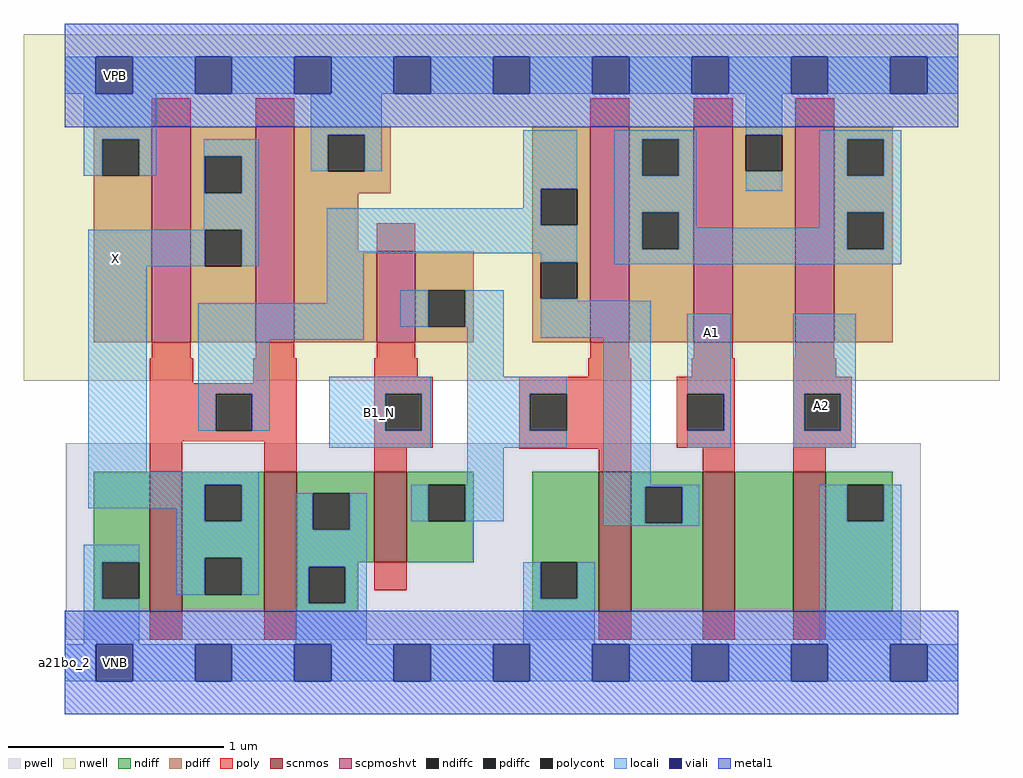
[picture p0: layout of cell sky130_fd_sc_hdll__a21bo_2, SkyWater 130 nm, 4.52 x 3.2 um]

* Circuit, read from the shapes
.subckt sky130_fd_sc_hdll__a21bo_2 A1 A2 B1_N VGND VNB VPB VPWR X
XM1 X n1 VGND VNB sky130_fd_pr__nfet_01v8 w=0.65 l=0.15 m=2
XM2 n2 B1_N VGND VNB sky130_fd_pr__nfet_01v8 w=0.42 l=0.15
XM3 n1 n2 VGND VNB sky130_fd_pr__nfet_01v8 w=0.65 l=0.15
XM4 n3 A1 n1 VNB sky130_fd_pr__nfet_01v8 w=0.65 l=0.15
XM5 VGND A2 n3 VNB sky130_fd_pr__nfet_01v8 w=0.65 l=0.15
XM6 X n1 VPWR VPB sky130_fd_pr__pfet_01v8_hvt w=1 l=0.18 m=2
XM7 n2 B1_N VPWR VPB sky130_fd_pr__pfet_01v8_hvt w=0.42 l=0.18
XM8 n4 n2 n1 VPB sky130_fd_pr__pfet_01v8_hvt w=1 l=0.18
XM9 VPWR A1 n4 VPB sky130_fd_pr__pfet_01v8_hvt w=1 l=0.18
XM10 n4 A2 VPWR VPB sky130_fd_pr__pfet_01v8_hvt w=1 l=0.18
.ends

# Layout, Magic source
magic
tech sky130A
magscale 1 2
<< nwell >>
rect -38 261 866 582
<< pwell >>
rect 1 21 793 203
rect 30 -17 64 21
<< scnmos >>
rect 79 47 109 177
rect 185 47 215 177
rect 287 93 317 177
rect 495 47 525 177
rect 591 47 621 177
rect 675 47 705 177
<< scpmoshvt >>
rect 81 297 117 497
rect 177 297 213 497
rect 289 297 325 381
rect 487 297 523 497
rect 583 297 619 497
rect 677 297 713 497
<< ndiff >>
rect 27 93 79 177
rect 27 59 35 93
rect 69 59 79 93
rect 27 47 79 59
rect 109 165 185 177
rect 109 131 130 165
rect 164 131 185 165
rect 109 97 185 131
rect 109 63 130 97
rect 164 63 185 97
rect 109 47 185 63
rect 215 157 287 177
rect 215 123 230 157
rect 264 123 287 157
rect 215 93 287 123
rect 317 165 379 177
rect 317 131 337 165
rect 371 131 379 165
rect 317 93 379 131
rect 433 93 495 177
rect 215 89 272 93
rect 215 55 226 89
rect 260 55 272 89
rect 215 47 272 55
rect 433 59 441 93
rect 475 59 495 93
rect 433 47 495 59
rect 525 163 591 177
rect 525 129 538 163
rect 572 129 591 163
rect 525 47 591 129
rect 621 47 675 177
rect 705 165 767 177
rect 705 131 725 165
rect 759 131 767 165
rect 705 47 767 131
<< pdiff >>
rect 27 485 81 497
rect 27 451 35 485
rect 69 451 81 485
rect 27 297 81 451
rect 117 469 177 497
rect 117 435 130 469
rect 164 435 177 469
rect 117 401 177 435
rect 117 367 130 401
rect 164 367 177 401
rect 117 297 177 367
rect 213 489 302 497
rect 213 455 244 489
rect 278 455 302 489
rect 213 435 302 455
rect 433 439 487 497
rect 213 381 272 435
rect 433 405 441 439
rect 475 405 487 439
rect 213 297 289 381
rect 325 345 379 381
rect 325 311 337 345
rect 371 311 379 345
rect 325 297 379 311
rect 433 371 487 405
rect 433 337 441 371
rect 475 337 487 371
rect 433 297 487 337
rect 523 485 583 497
rect 523 451 535 485
rect 569 451 583 485
rect 523 417 583 451
rect 523 383 535 417
rect 569 383 583 417
rect 523 297 583 383
rect 619 489 677 497
rect 619 455 631 489
rect 665 455 677 489
rect 619 297 677 455
rect 713 485 767 497
rect 713 451 725 485
rect 759 451 767 485
rect 713 417 767 451
rect 713 383 725 417
rect 759 383 767 417
rect 713 297 767 383
<< ndiffc >>
rect 35 59 69 93
rect 130 131 164 165
rect 130 63 164 97
rect 230 123 264 157
rect 337 131 371 165
rect 226 55 260 89
rect 441 59 475 93
rect 538 129 572 163
rect 725 131 759 165
<< pdiffc >>
rect 35 451 69 485
rect 130 435 164 469
rect 130 367 164 401
rect 244 455 278 489
rect 441 405 475 439
rect 337 311 371 345
rect 441 337 475 371
rect 535 451 569 485
rect 535 383 569 417
rect 631 455 665 489
rect 725 451 759 485
rect 725 383 759 417
<< poly >>
rect 81 497 117 523
rect 177 497 213 523
rect 487 497 523 523
rect 583 497 619 523
rect 677 497 713 523
rect 289 381 325 407
rect 81 282 117 297
rect 177 282 213 297
rect 289 282 325 297
rect 487 282 523 297
rect 583 282 619 297
rect 677 282 713 297
rect 79 259 119 282
rect 175 259 215 282
rect 79 249 215 259
rect 79 215 140 249
rect 174 215 215 249
rect 79 205 215 215
rect 79 177 109 205
rect 185 177 215 205
rect 287 265 327 282
rect 485 265 525 282
rect 581 265 621 282
rect 287 249 341 265
rect 287 215 297 249
rect 331 215 341 249
rect 287 199 341 215
rect 421 249 525 265
rect 421 215 431 249
rect 465 215 525 249
rect 287 177 317 199
rect 421 198 525 215
rect 567 249 621 265
rect 567 215 577 249
rect 611 215 621 249
rect 567 199 621 215
rect 495 177 525 198
rect 591 177 621 199
rect 675 265 715 282
rect 675 249 729 265
rect 675 215 685 249
rect 719 215 729 249
rect 675 199 729 215
rect 675 177 705 199
rect 287 67 317 93
rect 79 21 109 47
rect 185 21 215 47
rect 495 21 525 47
rect 591 21 621 47
rect 675 21 705 47
<< polycont >>
rect 140 215 174 249
rect 297 215 331 249
rect 431 215 465 249
rect 577 215 611 249
rect 685 215 719 249
<< locali >>
rect 0 527 29 561
rect 63 527 121 561
rect 155 527 213 561
rect 247 527 305 561
rect 339 527 397 561
rect 431 527 489 561
rect 523 527 581 561
rect 615 527 673 561
rect 707 527 765 561
rect 799 527 828 561
rect 18 485 85 527
rect 228 489 294 527
rect 18 451 35 485
rect 69 451 85 485
rect 129 469 180 485
rect 129 435 130 469
rect 164 435 180 469
rect 228 455 244 489
rect 278 455 294 489
rect 129 401 180 435
rect 425 439 475 493
rect 425 421 441 439
rect 22 367 130 401
rect 164 367 180 401
rect 243 405 441 421
rect 243 379 475 405
rect 22 177 76 367
rect 243 333 277 379
rect 441 371 475 379
rect 124 299 277 333
rect 311 311 337 345
rect 371 311 407 345
rect 124 249 190 299
rect 373 265 407 311
rect 509 485 585 493
rect 509 451 535 485
rect 569 451 585 485
rect 509 417 585 451
rect 631 489 665 527
rect 631 437 665 455
rect 699 485 775 493
rect 699 451 725 485
rect 759 451 775 485
rect 509 383 535 417
rect 569 403 585 417
rect 699 417 775 451
rect 699 403 725 417
rect 569 383 725 403
rect 759 383 775 417
rect 509 369 775 383
rect 441 335 475 337
rect 441 301 543 335
rect 124 215 140 249
rect 174 215 190 249
rect 245 249 339 265
rect 245 215 297 249
rect 331 215 339 249
rect 245 199 339 215
rect 373 249 465 265
rect 373 215 431 249
rect 373 199 465 215
rect 22 165 180 177
rect 373 165 407 199
rect 22 143 130 165
rect 104 131 130 143
rect 164 131 180 165
rect 18 93 69 109
rect 18 59 35 93
rect 104 97 180 131
rect 104 63 130 97
rect 164 63 180 97
rect 214 123 230 157
rect 264 123 280 157
rect 321 131 337 165
rect 371 131 407 165
rect 499 165 543 301
rect 577 249 617 323
rect 611 215 617 249
rect 577 199 617 215
rect 675 249 733 323
rect 675 215 685 249
rect 719 215 733 249
rect 675 199 733 215
rect 499 163 588 165
rect 499 129 538 163
rect 572 129 588 163
rect 499 127 588 129
rect 699 131 725 165
rect 759 131 775 165
rect 214 89 280 123
rect 18 17 69 59
rect 214 55 226 89
rect 260 55 280 89
rect 214 17 280 55
rect 425 59 441 93
rect 475 59 491 93
rect 425 17 491 59
rect 699 17 775 131
rect 0 -17 29 17
rect 63 -17 121 17
rect 155 -17 213 17
rect 247 -17 305 17
rect 339 -17 397 17
rect 431 -17 489 17
rect 523 -17 581 17
rect 615 -17 673 17
rect 707 -17 765 17
rect 799 -17 828 17
<< viali >>
rect 29 527 63 561
rect 121 527 155 561
rect 213 527 247 561
rect 305 527 339 561
rect 397 527 431 561
rect 489 527 523 561
rect 581 527 615 561
rect 673 527 707 561
rect 765 527 799 561
rect 29 -17 63 17
rect 121 -17 155 17
rect 213 -17 247 17
rect 305 -17 339 17
rect 397 -17 431 17
rect 489 -17 523 17
rect 581 -17 615 17
rect 673 -17 707 17
rect 765 -17 799 17
<< metal1 >>
rect 0 561 828 592
rect 0 527 29 561
rect 63 527 121 561
rect 155 527 213 561
rect 247 527 305 561
rect 339 527 397 561
rect 431 527 489 561
rect 523 527 581 561
rect 615 527 673 561
rect 707 527 765 561
rect 799 527 828 561
rect 0 496 828 527
rect 0 17 828 48
rect 0 -17 29 17
rect 63 -17 121 17
rect 155 -17 213 17
rect 247 -17 305 17
rect 339 -17 397 17
rect 431 -17 489 17
rect 523 -17 581 17
rect 615 -17 673 17
rect 707 -17 765 17
rect 799 -17 828 17
rect 0 -48 828 -17
<< labels >>
flabel locali s 245 199 339 265 0 FreeSans 340 0 0 0 B1_N
port 3 nsew signal input
flabel locali s 684 221 718 255 0 FreeSans 340 0 0 0 A2
port 2 nsew signal input
flabel locali s 30 357 64 391 0 FreeSans 340 0 0 0 X
port 8 nsew signal output
flabel locali s 582 289 616 323 0 FreeSans 340 0 0 0 A1
port 1 nsew signal input
flabel pwell s 30 -17 64 17 0 FreeSans 200 0 0 0 VNB
port 5 nsew ground bidirectional
flabel nwell s 30 527 64 561 0 FreeSans 200 0 0 0 VPB
port 6 nsew power bidirectional
flabel metal1 s 30 -17 64 17 0 FreeSans 200 0 0 0 VGND
port 4 nsew ground bidirectional
flabel metal1 s 30 527 64 561 0 FreeSans 200 0 0 0 VPWR
port 7 nsew power bidirectional
rlabel comment s 0 0 0 0 4 a21bo_2
<< properties >>
string LEFsite unithd
string LEFclass CORE
string FIXED_BBOX 0 0 828 544
string GDS_FILE $PDKPATH/libs.ref/sky130_fd_sc_hdll/gds/sky130_fd_sc_hdll.gds
string LEFsymmetry X Y R90
string GDS_END 1603388
string GDS_START 1596804
string LEFproperties maskLayoutSubType "abstract" prCellType "standard" originalViewName "layout"
<< end >>
